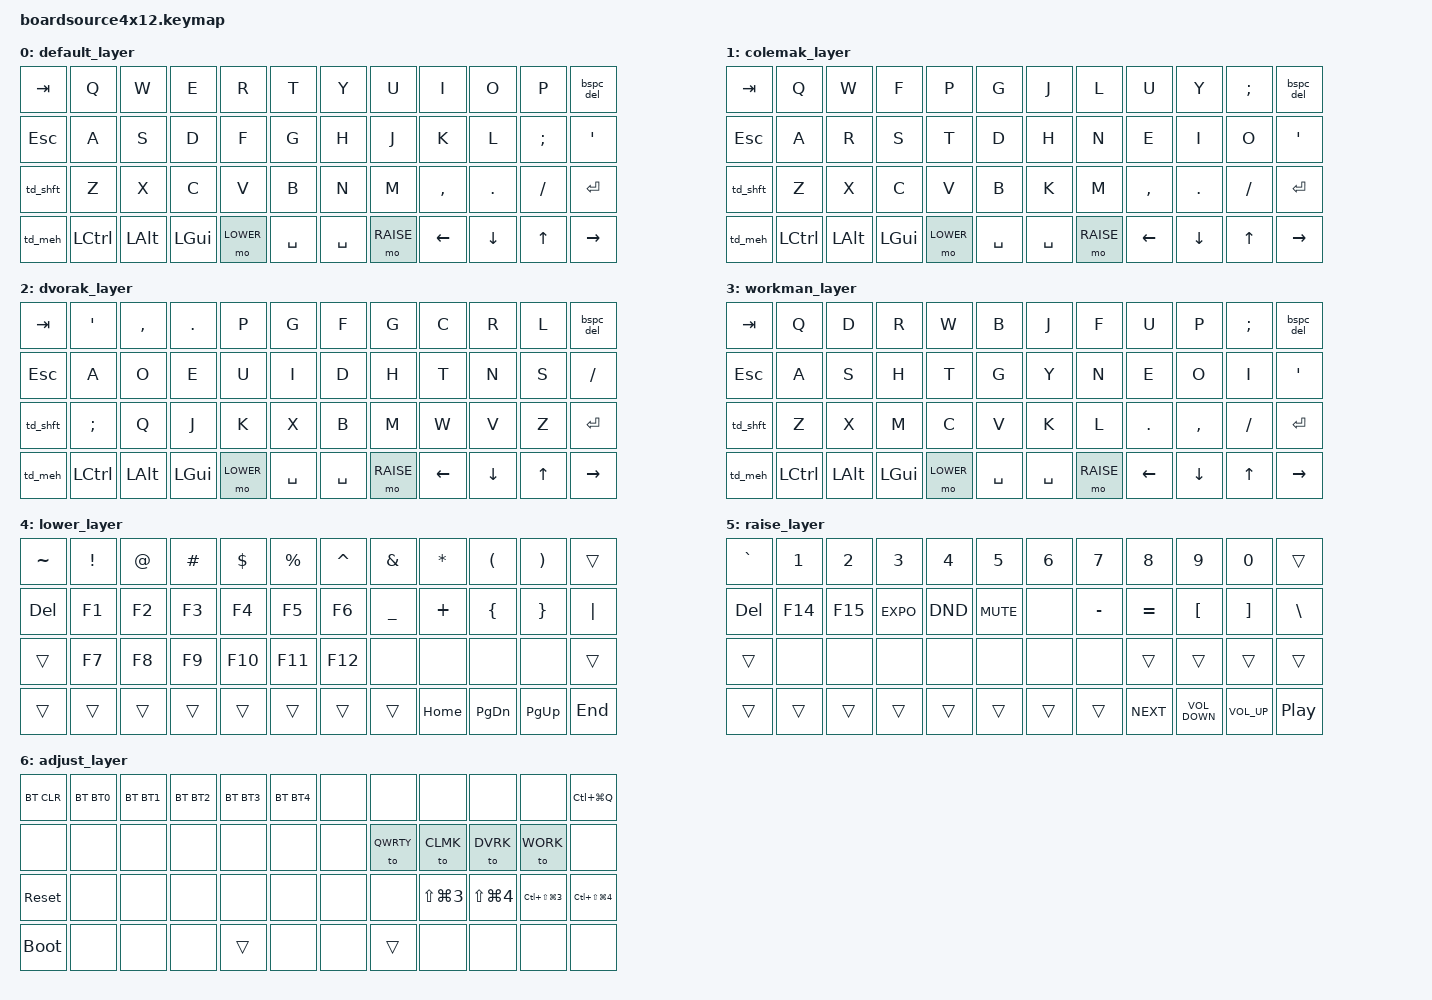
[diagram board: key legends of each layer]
/*
 * Copyright (c) 2021 The ZMK Contributors
 *
 * SPDX-License-Identifier: MIT
 */
 
#include <behaviors.dtsi>
#include <dt-bindings/zmk/keys.h>
#include <dt-bindings/zmk/bt.h>
#include <dt-bindings/zmk/outputs.h>

// Layer Definitions
#define QWRTY 0     // Qwerty
#define CLMK 1      // Colemak
#define DVRK 2      // Dvorkak
#define WORK 3      // Workman
#define LOWER 4
#define RAISE 5
#define ADJUST 6

// Apple Specific Definitions
// See: https://opensource.apple.com/source/IOHIDFamily/IOHIDFamily-1035.70.7/IOHIDFamily/AppleHIDUsageTables.h.auto.html
#define APPL_KEY_PAGE (0xff01)
#define EXPOSE_ALL (ZMK_HID_USAGE(APPL_KEY_PAGE, 0x0010))
#define DND (ZMK_HID_USAGE(HID_USAGE_GD, HID_USAGE_GD_SYSTEM_DO_NOT_DISTURB))

// Abbreviations
#define BRID F14
#define BRIU F15
#define EXPO (EXPOSE_ALL)
#define MUTE C_MUTE
#define CVOLD C_VOLUME_DOWN
#define CVOLU C_VOLUME_UP
#define BT0 BT_SEL 0
#define BT1 BT_SEL 1
#define BT2 BT_SEL 2
#define BT3 BT_SEL 3
#define BT4 BT_SEL 4
#define LOCK LC(LG(Q))          // MacOS Lock Screen
#define SCRNF LS(LG(N3))        // MacOS Full Screenshot
#define SCRNP LS(LG(N4))        // MacOS Partial Screenshot
#define SCRNFC LC(LS(LG(N3)))   // MacOS Full Screenshot to Clipboard
#define SCRNPC LC(LS(LG(N4)))   // MacOS Partial Screenshot to Clipboard

/ {
    behaviors {
        td_meh: tap_dance_meh_hype {
            compatible = "zmk,behavior-tap-dance";
            label = "TAP_DANCE_MEH_HYPE";
            #binding-cells = <0>;
            tapping-term-ms = <300>;
            bindings = <&kp LC(LS(LALT))>, <&kp LC(LS(LA(LGUI)))>;
        };

        td_shft: tap_dance_shift_caps {
            compatible = "zmk,behavior-tap-dance";
            label = "TAP_DANCE_SHIFT_CAPS";
            #binding-cells = <0>;
            tapping-term-ms = <300>;
            bindings = <&kp LSHFT>, <&caps_word>;
        };

        bspc_del: backspace_delete {
            compatible = "zmk,behavior-mod-morph";
            label = "BACKSPACE_DELETE";
            #binding-cells = <0>;
            bindings = <&kp BACKSPACE>, <&kp DELETE>;
            mods = <(MOD_LCTL|MOD_LALT)>;
            keep-mods = <(MOD_LALT)>;
        };
    };

    conditional_layers {
        compatible = "zmk,conditional-layers";
        tri_layer {
            if-layers = <LOWER RAISE>;
            then-layer = <ADJUST>;
        };
    };

    keymap {
        compatible = "zmk,keymap";

        default_layer {
            bindings = <
        // ╭----------┬----------┬----------┬----------┬----------┬----------┬----------┬----------┬----------┬----------┬----------┬----------╮
        // | TAB      |  Q       |  W       |  E       |  R       |  T       |  Y       |  U       |  I       |  O       |  P       | BSPC_DEL |
             &kp TAB     &kp Q      &kp W      &kp E      &kp R      &kp T      &kp Y      &kp U      &kp I      &kp O      &kp P    &bspc_del  
        // ├----------┼----------┼----------┼----------┼----------┼----------┼----------┼----------┼----------┼----------┼----------┼----------┤
        // | ESC      |  A       |  S       |  D       |  F       |  G       |  H       |  J       |  K       |  L       |  ;       |  '       |
             &kp ESC     &kp A      &kp S      &kp D      &kp F      &kp G      &kp H      &kp J      &kp K      &kp L     &kp SEMI   &kp SQT   
        // ├----------┼----------┼----------┼----------┼----------┼----------┼----------┼----------┼----------┼----------┼----------┼----------┤
        // | SHIFT    |  Z       |  X       |  C       |  V       |  B       |  N       |  M       |  ,       |  .       |  /       | ENTER    |
            &td_shft     &kp Z      &kp X      &kp C      &kp V      &kp B      &kp N      &kp M    &kp COMMA   &kp DOT    &kp FSLH   &kp RET   
        // ├----------┼----------┼----------┼----------┼----------┼----------┼----------┼----------┼----------┼----------┼----------┼----------┤
        // | MEH+     | CTRL     | ALT      | GUI      | LOWER    | SPACE    | SPACE    | RAISE    | LEFT     | DOWN     | UP       | RIGHT    |
             &td_meh   &kp LCTRL   &kp LALT   &kp LGUI  &mo LOWER  &kp SPACE  &kp SPACE  &mo RAISE   &kp LEFT   &kp DOWN    &kp UP   &kp RIGHT  
        // ╰----------┴----------┴----------┴----------┴----------┴----------┴----------┴----------┴----------┴----------┴----------┴----------╯
            >;
        };

        colemak_layer {
            bindings = <
        // ╭----------┬----------┬----------┬----------┬----------┬----------┬----------┬----------┬----------┬----------┬----------┬----------╮
        // | TAB      |  Q       |  W       |  F       |  P       |  G       |  J       |  L       |  U       |  Y       |  ;       | BSPC_DEL |
             &kp TAB     &kp Q      &kp W      &kp F      &kp P      &kp G      &kp J      &kp L      &kp U      &kp Y     &kp SEMI  &bspc_del  
        // ├----------┼----------┼----------┼----------┼----------┼----------┼----------┼----------┼----------┼----------┼----------┼----------┤
        // | ESC      |  A       |  R       |  S       |  T       |  D       |  H       |  N       |  E       |  I       |  O       |  '       |
             &kp ESC     &kp A      &kp R      &kp S      &kp T      &kp D      &kp H      &kp N      &kp E      &kp I      &kp O      &kp SQT   
        // ├----------┼----------┼----------┼----------┼----------┼----------┼----------┼----------┼----------┼----------┼----------┼----------┤
        // | SHIFT    |  Z       |  X       |  C       |  V       |  B       |  K       |  M       |  ,       |  .       |  /       | ENTER    |
            &td_shft     &kp Z      &kp X      &kp C      &kp V      &kp B      &kp K      &kp M    &kp COMMA   &kp DOT    &kp FSLH   &kp RET   
        // ├----------┼----------┼----------┼----------┼----------┼----------┼----------┼----------┼----------┼----------┼----------┼----------┤
        // | MEH+     | CTRL     | ALT      | GUI      | LOWER    | SPACE    | SPACE    | RAISE    | LEFT     | DOWN     | UP       | RIGHT    |
             &td_meh   &kp LCTRL   &kp LALT   &kp LGUI  &mo LOWER  &kp SPACE  &kp SPACE  &mo RAISE   &kp LEFT   &kp DOWN    &kp UP   &kp RIGHT  
        // ╰----------┴----------┴----------┴----------┴----------┴----------┴----------┴----------┴----------┴----------┴----------┴----------╯
            >;
        };

        dvorak_layer {
            bindings = <
        // ╭----------┬----------┬----------┬----------┬----------┬----------┬----------┬----------┬----------┬----------┬----------┬----------╮
        // | TAB      |  '       |  ,       |  .       |  P       |  Y       |  F       |  G       |  C       |  R       |  L       | BSPC_DEL |
             &kp TAB     &kp SQT  &kp COMMA    &kp DOT    &kp P      &kp G      &kp F      &kp G      &kp C      &kp R     &kp L     &bspc_del  
        // ├----------┼----------┼----------┼----------┼----------┼----------┼----------┼----------┼----------┼----------┼----------┼----------┤
        // | ESC      |  A       |  O       |  E       |  U       |  I       |  D       |  H       |  T       |  N       |  S       |  /       |
             &kp ESC     &kp A      &kp O      &kp E     &kp U      &kp I      &kp D      &kp H      &kp T      &kp N      &kp S      &kp FSLH  
        // ├----------┼----------┼----------┼----------┼----------┼----------┼----------┼----------┼----------┼----------┼----------┼----------┤
        // | SHIFT    |  ;       |  Q       |  J       |  K       |  X       |  B       |  M       |  W       |  V       |  Z       | ENTER    |
            &td_shft    &kp SEMI    &kp Q      &kp J      &kp K      &kp X      &kp B      &kp M      &kp W      &kp V      &kp Z     &kp RET   
        // ├----------┼----------┼----------┼----------┼----------┼----------┼----------┼----------┼----------┼----------┼----------┼----------┤
        // | MEH+     | CTRL     | ALT      | GUI      | LOWER    | SPACE    | SPACE    | RAISE    | LEFT     | DOWN     | UP       | RIGHT    |
             &td_meh   &kp LCTRL   &kp LALT   &kp LGUI  &mo LOWER  &kp SPACE  &kp SPACE  &mo RAISE   &kp LEFT   &kp DOWN    &kp UP   &kp RIGHT  
        // ╰----------┴----------┴----------┴----------┴----------┴----------┴----------┴----------┴----------┴----------┴----------┴----------╯
            >;
        };

        workman_layer {
            bindings = <
        // ╭----------┬----------┬----------┬----------┬----------┬----------┬----------┬----------┬----------┬----------┬----------┬----------╮
        // | TAB      |  Q       |  D       |  R       |  W       |  B       |  J       |  F       |  U       |  P       |  ;       | BSPC_DEL |
             &kp TAB     &kp Q      &kp D      &kp R      &kp W      &kp B      &kp J      &kp F      &kp U      &kp P     &kp SEMI  &bspc_del  
        // ├----------┼----------┼----------┼----------┼----------┼----------┼----------┼----------┼----------┼----------┼----------┼----------┤
        // | ESC      |  A       |  S       |  H       |  T       |  G       |  Y       |  N       |  E       |  O       |  I       |  '       |
             &kp ESC     &kp A      &kp S      &kp H     &kp T      &kp G      &kp Y      &kp N      &kp E      &kp O      &kp I       &kp SQT  
        // ├----------┼----------┼----------┼----------┼----------┼----------┼----------┼----------┼----------┼----------┼----------┼----------┤
        // | SHIFT    |  Z       |  X       |  M       |  C       |  V       |  K       |  L       |  ,       |  .       |  /       | ENTER    |
            &td_shft     &kp Z      &kp X      &kp M      &kp C      &kp V      &kp K      &kp L      &kp DOT  &kp COMMA   &kp FSLH   &kp RET   
        // ├----------┼----------┼----------┼----------┼----------┼----------┼----------┼----------┼----------┼----------┼----------┼----------┤
        // | MEH+     | CTRL     | ALT      | GUI      | LOWER    | SPACE    | SPACE    | RAISE    | LEFT     | DOWN     | UP       | RIGHT    |
             &td_meh   &kp LCTRL   &kp LALT   &kp LGUI  &mo LOWER  &kp SPACE  &kp SPACE  &mo RAISE   &kp LEFT   &kp DOWN    &kp UP   &kp RIGHT  
        // ╰----------┴----------┴----------┴----------┴----------┴----------┴----------┴----------┴----------┴----------┴----------┴----------╯
            >;
        };

        lower_layer {
            bindings = <
        // ╭----------┬----------┬----------┬----------┬----------┬----------┬----------┬----------┬----------┬----------┬----------┬----------╮
        // |  ~       |  !       |  @       |  #       |  $       |  %       |  ^       |  &       |  *       |  (       |  )       | TRANS    |
            &kp TILDE   &kp EXCL    &kp AT    &kp HASH   &kp DLLR  &kp PRCNT  &kp CARET   &kp AMPS  &kp ASTRK   &kp LPAR   &kp RPAR    &trans   
        // ├----------┼----------┼----------┼----------┼----------┼----------┼----------┼----------┼----------┼----------┼----------┼----------┤
        // | DEL      | F1       | F2       | F3       | F4       | F5       | F6       |  _       |  +       |  {       |  }       |  |       |
             &kp DEL     &kp F1     &kp F2     &kp F3     &kp F4     &kp F5     &kp F6   &kp UNDER   &kp PLUS   &kp LBRC   &kp RBRC   &kp PIPE  
        // ├----------┼----------┼----------┼----------┼----------┼----------┼----------┼----------┼----------┼----------┼----------┼----------┤
        // | TRANS    | F7       | F8       | F9       | F10      | F11      | F12      | NONE     | NONE     | NONE     | NONE     | TRANS    |
              &trans     &kp F7     &kp F8     &kp F9    &kp F10    &kp F11    &kp F12     &none      &none      &none      &none      &trans   
        // ├----------┼----------┼----------┼----------┼----------┼----------┼----------┼----------┼----------┼----------┼----------┼----------┤
        // | TRANS    | TRANS    | TRANS    | TRANS    | TRANS    | TRANS    | TRANS    | TRANS    | HOME     | PG DN    | PG UP    | END      |
              &trans     &trans     &trans     &trans     &trans     &trans     &trans     &trans    &kp HOME  &kp PG_DN  &kp PG_UP   &kp END   
        // ╰----------┴----------┴----------┴----------┴----------┴----------┴----------┴----------┴----------┴----------┴----------┴----------╯
            >;
        };

        raise_layer {
            bindings = <
        // ╭----------┬----------┬----------┬----------┬----------┬----------┬----------┬----------┬----------┬----------┬----------┬----------╮
        // |  `       |  1       |  2       |  3       |  4       |  5       |  6       |  7       |  8       |  9       |  0       | TRANS    |
            &kp GRAVE    &kp N1     &kp N2     &kp N3     &kp N4     &kp N5     &kp N6     &kp N7     &kp N8     &kp N9     &kp N0     &trans   
        // ├----------┼----------┼----------┼----------┼----------┼----------┼----------┼----------┼----------┼----------┼----------┼----------┤
        // | DEL      | BRI_UP   | BRI_DN   | EXPO     | DND      | MUTE     | NONE     |  -       |  =       |  [       |  ]       |  \       |
             &kp DEL    &kp BRID   &kp BRIU   &kp EXPO   &kp DND    &kp MUTE   &none      &kp MINUS  &kp EQUAL   &kp LBKT   &kp RBKT   &kp BSLH  
        // ├----------┼----------┼----------┼----------┼----------┼----------┼----------┼----------┼----------┼----------┼----------┼----------┤
        // | TRANS    | NONE     | NONE     | NONE     | NONE     | NONE     | NONE     | NONE     | TRANS    | TRANS    | TRANS    | TRANS    |
              &trans     &none      &none      &none      &none      &none      &none      &none      &trans     &trans     &trans     &trans   
        // ├----------┼----------┼----------┼----------┼----------┼----------┼----------┼----------┼----------┼----------┼----------┼----------┤
        // | TRANS    | TRANS    | TRANS    | TRANS    | TRANS    | TRANS    | TRANS    | TRANS    | NEXT     | VOL_DN   | VOL_UP   | PLAY     |
              &trans     &trans     &trans     &trans     &trans     &trans     &trans     &trans   &kp C_NEXT &kp CVOLD  &kp CVOLU  &kp C_PLAY_PAUSE 
        // ╰----------┴----------┴----------┴----------┴----------┴----------┴----------┴----------┴----------┴----------┴----------┴----------╯
            >;
        };

        adjust_layer {
            bindings = <
        // ╭----------┬----------┬----------┬----------┬----------┬----------┬----------┬----------┬----------┬----------┬----------┬----------╮
        // | BT_CLR   | BT 1     | BT 2     | BT 3     | BT 4     | BT 5     | NONE     | NONE     | NONE     | NONE     | NONE     | LOCK     |
            &bt BT_CLR  &bt BT0    &bt BT1    &bt BT2    &bt BT3    &bt BT4     &none      &none      &none      &none      &none     &kp LOCK
        // ├----------┼----------┼----------┼----------┼----------┼----------┼----------┼----------┼----------┼----------┼----------┼----------┤
        // | NONE     | NONE     | NONE     | NONE     | NONE     | NONE     | NONE     | QWRTY    | CLMK     | DVRK     | WORK     | NONE     |
              &none      &none      &none      &none      &none      &none      &none    &to QWRTY   &to CLMK   &to DVRK   &to WORK    &none
        // ├----------┼----------┼----------┼----------┼----------┼----------┼----------┼----------┼----------┼----------┼----------┼----------┤
        // | NONE     | NONE     | NONE     | NONE     | NONE     | NONE     | NONE     | NONE     | SCRNF    | SCRNP    | SCRNFC   | SCRNPC   |
            &sys_reset   &none      &none      &none      &none      &none      &none      &none    &kp SCRNF  &kp SCRNP  &kp SCRNFC &kp SCRNPC
        // ├----------┼----------┼----------┼----------┼----------┼----------┼----------┼----------┼----------┼----------┼----------┼----------┤
        // | NONE     | NONE     | NONE     | NONE     | TRANS    | NONE     | NONE     | TRANS    | NONE     | NONE     | NONE     | NONE     |
            &bootloader  &none      &none      &none      &trans     &none      &none      &trans     &none      &none      &none      &none
        // ╰----------┴----------┴----------┴----------┴----------┴----------┴----------┴----------┴----------┴----------┴----------┴----------╯
            >;
        };
    };
};
